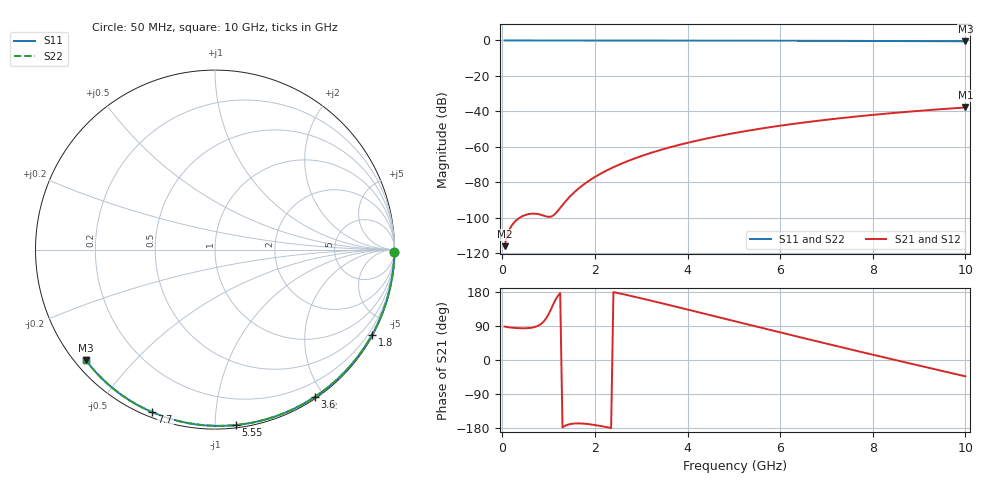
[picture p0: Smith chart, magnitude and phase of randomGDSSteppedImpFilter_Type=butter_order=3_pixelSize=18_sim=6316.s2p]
! freq	dB(S11)	phase(S11)	dB(S12)	phase(S12)
!  dB(S21)	phase(S21)	dB(S22)	phase(S22)
!S-par simulation data
#  GHz  S  DB  R 50
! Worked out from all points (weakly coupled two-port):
!   200 points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, 50 MHz to 10 GHz, reference 50 ohm
!   highest |S21| = -37.85 dB at 10 GHz (marker M1); lowest = -116.2 dB at 50 MHz (marker M2)
!   lowest |S11| = -0.5 dB at 10 GHz (marker M3), VSWR 36.85, Z = 1.54 - j18.5 ohm
!   |S11| at or under -10 dB: nowhere
!   |S22| runs from -0.5 to 0.0 dB; largest |S21 - S12| = 0
!   S11 on the Smith chart (normalised r, x): 50 MHz: open; 1.8 GHz: 0.03, -3.92; 3.6 GHz: 0.02, -1.89; 5.55 GHz: 0.02, -1.12; 7.7 GHz: 0.02, -0.68; 10 GHz: 0.03, -0.37
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0.05  -0.00 -0.8  -116.18 88.3  -116.18 88.3  -0.00 -0.8
0.45  -0.01 -7.3  -99.06 83.7  -99.06 83.7  -0.01 -7.3
0.9  -0.02 -14.4  -98.99 102.4  -98.99 102.4  -0.02 -14.4
1.75  -0.04 -27.8  -81.48 -167.9  -81.48 -167.9  -0.04 -27.8
1.8  -0.04 -28.6  -80.52 -168.4  -80.52 -168.4  -0.04 -28.6
1.85  -0.04 -29.4  -79.61 -169.1  -79.61 -169.1  -0.04 -29.4
2.05  -0.04 -32.5  -76.32 -172.6  -76.32 -172.6  -0.04 -32.5
2.25  -0.05 -35.6  -73.47 -177.1  -73.47 -177.1  -0.05 -35.6
2.55  -0.05 -40.1  -69.82 175.3  -69.82 175.3  -0.05 -40.1
2.95  -0.06 -46.2  -65.77 164.2  -65.77 164.2  -0.06 -46.2
3.4  -0.07 -52.9  -61.98 151.1  -61.98 151.1  -0.07 -52.9
3.6  -0.08 -55.8  -60.49 145.2  -60.49 145.2  -0.08 -55.8
3.9  -0.08 -60.2  -58.44 136.2  -58.44 136.2  -0.08 -60.2
4.3  -0.09 -66.0  -56.00 124.1  -56.00 124.1  -0.09 -66.0
5.05  -0.12 -76.5  -52.12 101.5  -52.12 101.5  -0.12 -76.5
5.55  -0.14 -83.3  -49.92 86.4  -49.92 86.4  -0.14 -83.3
6.1  -0.16 -90.6  -47.78 69.9  -47.78 69.9  -0.16 -90.6
6.7  -0.19 -98.5  -45.72 52.1  -45.72 52.1  -0.19 -98.5
7.7  -0.25 -111.2  -42.81 22.7  -42.81 22.7  -0.25 -111.2
8.35  -0.31 -119.2  -41.19 3.9  -41.19 3.9  -0.31 -119.2
9.2  -0.38 -129.6  -39.34 -20.4  -39.34 -20.4  -0.38 -129.6
10  -0.47 -139.4  -37.85 -43.1  -37.85 -43.1  -0.47 -139.4
